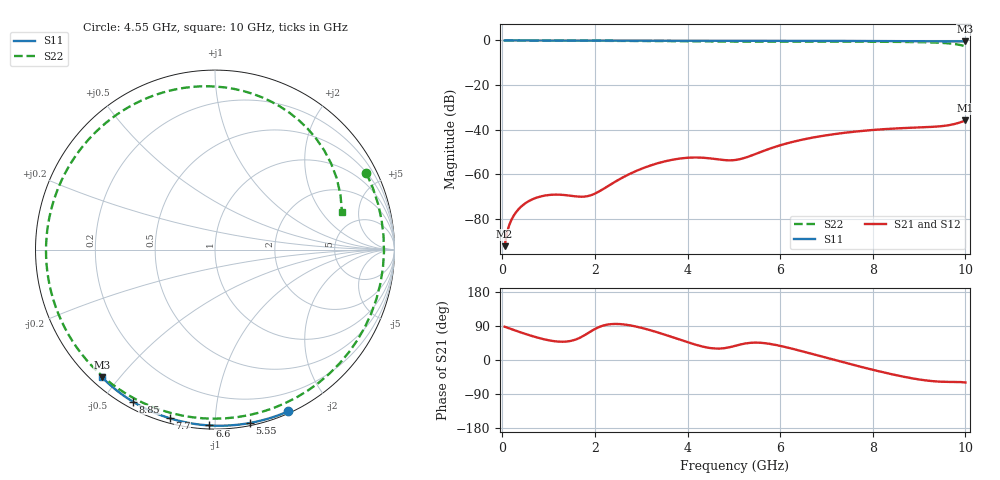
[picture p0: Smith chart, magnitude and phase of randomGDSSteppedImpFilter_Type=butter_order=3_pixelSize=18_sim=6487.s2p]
! freq	dB(S11)	phase(S11)	dB(S12)	phase(S12)
!  dB(S21)	phase(S21)	dB(S22)	phase(S22)
!S-par simulation data
#  GHz  S  DB  R 50
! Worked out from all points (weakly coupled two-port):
!   200 points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, 50 MHz to 10 GHz, reference 50 ohm
!   highest |S21| = -35.84 dB at 10 GHz (marker M1); lowest = -92.2 dB at 50 MHz (marker M2)
!   lowest |S11| = -0.4 dB at 10 GHz (marker M3), VSWR 39.03, Z = 1.54 - j22.5 ohm
!   |S11| at or under -10 dB: nowhere
!   |S22| runs from -2.6 to 0.0 dB; largest |S21 - S12| = 0
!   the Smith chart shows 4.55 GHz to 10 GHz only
!   S11 on the Smith chart (normalised r, x): 4.55 GHz: 0.02, -1.55; 5.55 GHz: 0.02, -1.22; 6.6 GHz: 0.02, -0.97; 7.7 GHz: 0.02, -0.77; 8.85 GHz: 0.03, -0.60; 10 GHz: 0.03, -0.45
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0.05  -0.00 -0.8  -92.20 87.8  -92.20 87.8  -0.00 -3.7
0.2  -0.00 -3.0  -80.27 81.3  -80.27 81.3  -0.02 -14.8
0.45  -0.01 -6.8  -73.72 70.7  -73.72 70.7  -0.05 -32.9
0.9  -0.02 -13.6  -69.59 54.7  -69.59 54.7  -0.08 -64.5
1.3  -0.03 -19.5  -69.21 48.2  -69.21 48.2  -0.11 -91.0
1.75  -0.03 -26.2  -70.02 63.5  -70.02 63.5  -0.13 -119.2
2.65  -0.05 -39.3  -60.87 93.4  -60.87 93.4  -0.19 -173.7
3.4  -0.07 -49.9  -54.77 71.1  -54.77 71.1  -0.27 135.4
4  -0.08 -58.2  -52.58 47.0  -52.58 47.0  -0.38 84.1
4.25  -0.09 -61.6  -52.48 37.8  -52.48 37.8  -0.44 59.0
4.55  -0.10 -65.6  -53.01 30.7  -53.01 30.7  -0.49 26.8
4.8  -0.10 -68.9  -53.63 31.3  -53.63 31.3  -0.52 -0.7
5.05  -0.11 -72.2  -53.52 38.0  -53.52 38.0  -0.54 -27.3
5.55  -0.13 -78.7  -50.22 45.7  -50.22 45.7  -0.53 -74.3
6  -0.15 -84.4  -46.99 37.3  -46.99 37.3  -0.51 -108.3
6.6  -0.17 -91.8  -43.94 18.9  -43.94 18.9  -0.50 -144.7
6.7  -0.18 -93.1  -43.55 15.7  -43.55 15.7  -0.50 -150.0
7.7  -0.24 -105.1  -40.68 -16.7  -40.68 -16.7  -0.55 162.2
8.35  -0.29 -112.7  -39.61 -35.9  -39.61 -35.9  -0.61 132.9
8.85  -0.33 -118.4  -39.11 -48.4  -39.11 -48.4  -0.70 108.8
9.5  -0.39 -125.8  -38.37 -57.4  -38.37 -57.4  -1.09 69.3
10  -0.45 -131.4  -35.84 -59.3  -35.84 -59.3  -2.64 16.5
